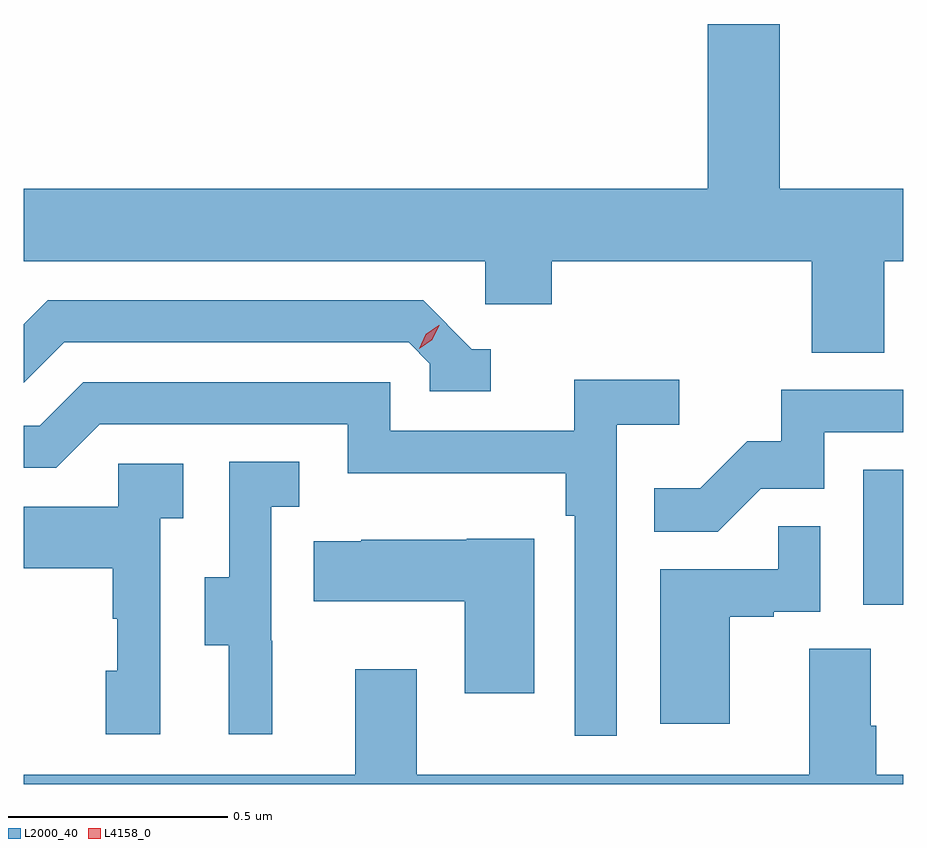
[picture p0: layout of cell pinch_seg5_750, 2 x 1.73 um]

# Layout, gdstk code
import gdstk
lib = gdstk.Library(unit=1e-6, precision=1e-09)
def R(c, l, rs):  # rectangles x0, y0, x1, y1
    for r in rs: c.add(gdstk.rectangle(r[:2], r[2:], *l))
def P(c, l, *ps):  # polygons
    for p in ps: c.add(gdstk.Polygon(p, *l))
L2000_40 = (2000, 40)
L4158_0 = (4158, 0)

pinch_seg5_750 = lib.new_cell('pinch_seg5_750')
R(pinch_seg5_750, L2000_40, [(884.642,899.934,884.733,900.241)])
P(pinch_seg5_750, L2000_40, [(884.69,900.716),(884.733,900.716),(884.733,900.88),(884.452,900.88),(884.452,901.255),(884.288,901.255),(884.288,900.88),(882.733,900.88),(882.733,900.716),(883.782,900.716),(883.782,900.618),(883.934,900.618),(883.934,900.716),(884.525,900.716),(884.525,900.508),(884.69,900.508)],
  [(883.795,900.516),(883.752,900.516),(883.641,900.627),(882.788,900.627),(882.733,900.572),(882.733,900.439),(882.825,900.531),(883.608,900.531),(883.656,900.483),(883.656,900.42),(883.795,900.42)],
  [(884.082,900.344),(884.224,900.344),(884.224,900.446),(883.985,900.446),(883.985,900.33),(883.566,900.33),(883.566,900.441),(882.869,900.441),(882.77,900.342),(882.733,900.342),(882.733,900.246),(882.807,900.246),(882.906,900.345),(883.47,900.345),(883.47,900.233),(883.966,900.233),(883.966,900.137),(883.986,900.137),(883.986,899.637),(884.082,899.637)],
  [(884.409,900.198),(884.553,900.198),(884.553,900.327),(884.733,900.327),(884.733,900.423),(884.455,900.423),(884.455,900.306),(884.378,900.306),(884.271,900.199),(884.167,900.199),(884.167,900.1),(884.311,900.1)],
  [(883.298,899.853),(883.296,899.853),(883.296,900.157),(883.36,900.157),(883.36,900.26),(883.2,900.26),(883.2,899.997),(883.145,899.997),(883.145,899.842),(883.199,899.842),(883.199,899.64),(883.298,899.64)],
  [(883.044,900.131),(883.096,900.131),(883.096,900.255),(882.948,900.255),(882.948,900.157),(882.733,900.157),(882.733,900.017),(882.936,900.017),(882.936,899.903),(882.946,899.903),(882.946,899.784),(882.92,899.784),(882.92,899.64),(883.044,899.64)],
  [(884.338,899.907),(884.438,899.907),(884.438,899.919),(884.544,899.919),(884.544,900.113),(884.449,900.113),(884.449,900.015),(884.18,900.015),(884.18,899.664),(884.338,899.664)],
  [(883.894,900.085),(883.74,900.085),(883.74,900.082),(883.501,900.082),(883.501,900.079),(883.393,900.079),(883.393,899.942),(883.736,899.942),(883.736,899.733),(883.894,899.733)],
  [(883.627,899.788),(883.487,899.788),(883.487,899.548),(882.733,899.548),(882.733,899.527),(884.733,899.527),(884.733,899.548),(884.672,899.548),(884.672,899.66),(884.659,899.66),(884.659,899.834),(884.519,899.834),(884.519,899.548),(883.627,899.548)])
P(pinch_seg5_750, L4158_0, [(883.632,900.517),(883.632,900.517),(883.647,900.55),(883.677,900.57),(883.678,900.57),(883.678,900.57),(883.662,900.537),(883.632,900.517)])

lib.write_gds('pinch_seg5_750.gds')
